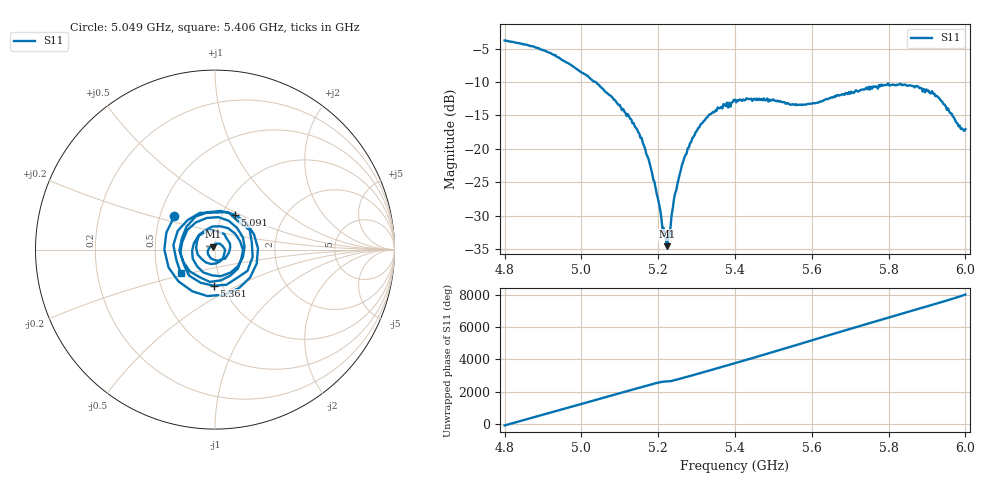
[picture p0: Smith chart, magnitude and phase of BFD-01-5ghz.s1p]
! NanoVNA-App
! Date: 2026-05-22 18:14:53
! Start: 4.8GHz Stop: 6GHz Points: 401
! S-Parameter data: F S11
# Hz S RI R 50
!  Frequency  S11_Real  S11_Imag
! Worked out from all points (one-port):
!   401 points, 4.8 GHz to 6 GHz, reference 50 ohm
!   lowest |S11| = -34.6 dB at 5.223 GHz (marker M1), VSWR 1.04, Z = 48.9 + j1.51 ohm
!   |S11| at or under -10 dB: 5.037 GHz to end of sweep
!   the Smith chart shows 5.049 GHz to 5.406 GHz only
!   S11 on the Smith chart (normalised r, x): 5.049 GHz: 0.59, +0.24; 5.091 GHz: 1.14, +0.47; 5.361 GHz: 0.91, -0.38; 5.406 GHz: 0.66, -0.18
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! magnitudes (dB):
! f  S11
! 4.8 GHz  -3.8
! 4.878 GHz  -4.7
! 4.95 GHz  -6.7
! 5.049 GHz  -10.7
! 5.091 GHz  -13.0
! 5.1 GHz  -13.4
! 5.13 GHz  -15.6
! 5.163 GHz  -19.5
! 5.196 GHz  -26.7
! 5.217 GHz  -33.1
! 5.223 GHz  -34.6
! 5.229 GHz  -33.1
! 5.241 GHz  -27.6
! 5.25 GHz  -25.3
! 5.265 GHz  -22.0
! 5.295 GHz  -17.9
! 5.328 GHz  -15.3
! 5.361 GHz  -13.9
! 5.4 GHz  -12.6
! 5.406 GHz  -12.7
! 5.55 GHz  -13.3
! 5.613 GHz  -13.1
! 5.7 GHz  -11.8
! 5.793 GHz  -10.4
! 5.85 GHz  -10.6
! 5.919 GHz  -11.7
! 5.982 GHz  -16.6
! 6 GHz  -17.1
